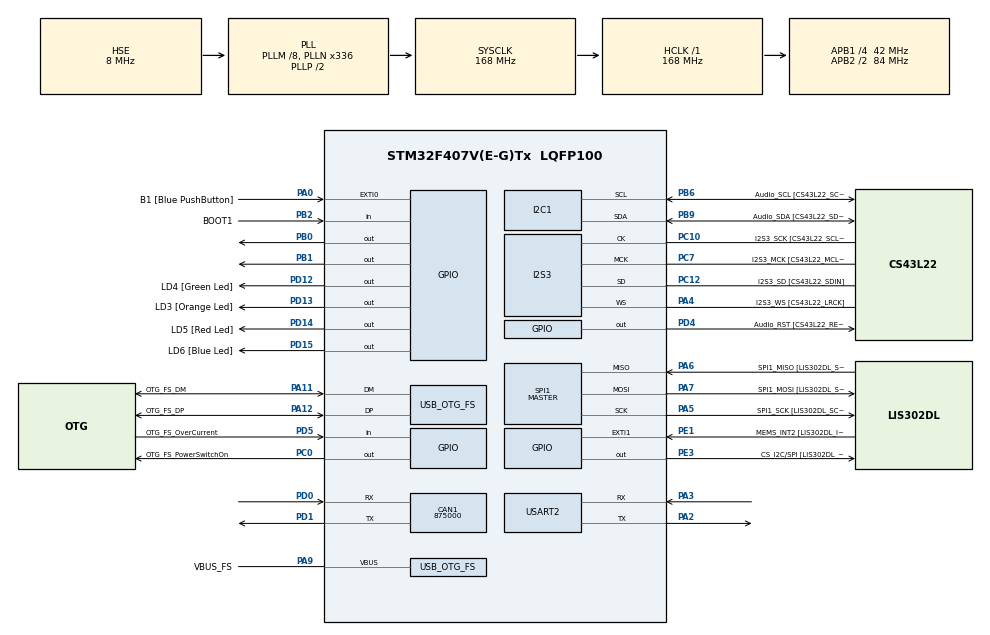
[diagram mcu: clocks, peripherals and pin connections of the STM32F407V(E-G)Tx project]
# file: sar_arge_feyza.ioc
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ADC1.Channel-6\#ChannelRegularConversion=ADC_CHANNEL_TEMPSENSOR
ADC1.Channel-7\#ChannelRegularConversion=ADC_CHANNEL_TEMPSENSOR
ADC1.Channel-8\#ChannelRegularConversion=ADC_CHANNEL_TEMPSENSOR
ADC1.NbrOfConversion=3
ADC1.NbrOfConversionFlag=1
ADC1.Rank-6\#ChannelRegularConversion=1
ADC1.Rank-7\#ChannelRegularConversion=2
ADC1.Rank-8\#ChannelRegularConversion=3
ADC1.SamplingTime-6\#ChannelRegularConversion=ADC_SAMPLETIME_3CYCLES
ADC1.SamplingTime-7\#ChannelRegularConversion=ADC_SAMPLETIME_56CYCLES
ADC1.SamplingTime-8\#ChannelRegularConversion=ADC_SAMPLETIME_3CYCLES
ADC1.master=1
CAN1.CalculateBaudRate=875000
CAN1.CalculateTimeBit=1142
CAN1.CalculateTimeQuantum=380.95238095238096
I2S3.AudioFreq-Half_Duplex_Master=I2S_AUDIOFREQ_96K
I2S3.ErrorAudioFreq=-2.34 %
I2S3.ErrorAudioFreq-Half_Duplex_Master=0.8 %
I2S3.FullDuplexMode=I2S_FULLDUPLEXMODE_DISABLE
I2S3.Instance=SPI$Index
I2S3.RealAudioFreq=93.75 KHz
I2S3.RealAudioFreq-Half_Duplex_Master=96.774 KHz
I2S3.VirtualMode=I2S_MODE_MASTER
Mcu.Family=STM32F4
Mcu.Name=STM32F407V(E-G)Tx
Mcu.Package=LQFP100
NVIC.OTG_FS_IRQn=true\:0\:0\:false\:false\:true\:true\:true\:true
NVIC.PriorityGroup=NVIC_PRIORITYGROUP_0
NVIC.TIM1_CC_IRQn=true\:0\:0\:false\:false\:true\:true\:true\:true
NVIC.USART2_IRQn=true\:0\:0\:false\:false\:true\:true\:true\:true
PA0-WKUP.GPIO_Label=B1 [Blue PushButton]
PA0-WKUP.GPIO_ModeDefaultEXTI=GPIO_MODE_EVT_RISING
PA0-WKUP.GPIO_PuPd=GPIO_NOPULL
PA0-WKUP.Signal=GPXTI0
PA10.GPIO_Label=OTG_FS_ID
PA10.GPIO_Mode=GPIO_MODE_AF_PP
PA10.GPIO_PuPd=GPIO_NOPULL
PA10.GPIO_Speed=GPIO_SPEED_FREQ_LOW
PA10.Signal=USB_OTG_FS_ID
PA11.GPIO_Label=OTG_FS_DM
PA11.GPIO_Mode=GPIO_MODE_AF_PP
PA11.GPIO_PuPd=GPIO_NOPULL
PA11.GPIO_Speed=GPIO_SPEED_FREQ_LOW
PA11.Mode=Host_Only
PA11.Signal=USB_OTG_FS_DM
PA12.GPIO_Label=OTG_FS_DP
PA12.GPIO_Mode=GPIO_MODE_AF_PP
PA12.GPIO_PuPd=GPIO_NOPULL
PA12.GPIO_Speed=GPIO_SPEED_FREQ_LOW
PA12.Mode=Host_Only
PA12.Signal=USB_OTG_FS_DP
PA13.GPIO_Label=SWDIO
PA13.Mode=Serial_Wire
PA13.Signal=SYS_JTMS-SWDIO
PA14.GPIO_Label=SWCLK
PA14.Mode=Serial_Wire
PA14.Signal=SYS_JTCK-SWCLK
PA2.Mode=Asynchronous
PA2.Signal=USART2_TX
PA3.Mode=Asynchronous
PA3.Signal=USART2_RX
PA4.GPIO_Label=I2S3_WS [CS43L22_LRCK]
PA4.GPIO_Mode=GPIO_MODE_AF_PP
PA4.GPIO_PuPd=GPIO_NOPULL
PA4.GPIO_Speed=GPIO_SPEED_FREQ_LOW
PA4.Mode=Half_Duplex_Master
PA4.Signal=I2S3_WS
PA5.GPIO_Label=SPI1_SCK [LIS302DL_SCL/SPC]
PA5.GPIO_Mode=GPIO_MODE_AF_PP
PA5.GPIO_PuPd=GPIO_NOPULL
PA5.GPIO_Speed=GPIO_SPEED_FREQ_LOW
PA5.Mode=Full_Duplex_Master
PA5.Signal=SPI1_SCK
PA6.GPIO_Label=SPI1_MISO [LIS302DL_SDO]
PA6.GPIO_Mode=GPIO_MODE_AF_PP
PA6.GPIO_PuPd=GPIO_NOPULL
PA6.GPIO_Speed=GPIO_SPEED_FREQ_LOW
PA6.Mode=Full_Duplex_Master
PA6.Signal=SPI1_MISO
PA7.GPIO_Label=SPI1_MOSI [LIS302DL_SDA/SDI/SDO]
PA7.GPIO_Mode=GPIO_MODE_AF_PP
PA7.GPIO_PuPd=GPIO_NOPULL
PA7.GPIO_Speed=GPIO_SPEED_FREQ_LOW
PA7.Mode=Full_Duplex_Master
PA7.Signal=SPI1_MOSI
PA9.GPIO_Label=VBUS_FS
PA9.GPIO_Mode=GPIO_MODE_INPUT
PA9.GPIO_PuPd=GPIO_NOPULL
PA9.Mode=Activate_VBUS
PA9.Signal=USB_OTG_FS_VBUS
PB0.Signal=GPIO_Output
PB1.Signal=GPIO_Output
PB10.GPIO_Label=CLK_IN [MP45DT02_CLK]
PB10.GPIO_Mode=GPIO_MODE_AF_PP
PB10.GPIO_PuPd=GPIO_NOPULL
PB10.GPIO_Speed=GPIO_SPEED_FREQ_LOW
PB10.Signal=I2S2_CK
PB2.GPIO_Label=BOOT1
PB2.GPIO_Mode=GPIO_MODE_INPUT
PB2.GPIO_PuPd=GPIO_NOPULL
PB2.Signal=GPIO_Input
PB3.GPIO_Label=SWO
PB3.Signal=SYS_JTDO-SWO
PB6.GPIO_Label=Audio_SCL [CS43L22_SCL]
PB6.GPIO_Mode=GPIO_MODE_AF_OD
PB6.GPIO_Pu=GPIO_PULLUP
PB6.GPIO_PuPd=GPIO_NOPULL
PB6.GPIO_Speed=GPIO_SPEED_FREQ_LOW
PB6.Mode=I2C
PB6.Signal=I2C1_SCL
PB9.GPIO_Label=Audio_SDA [CS43L22_SDA]
PB9.GPIO_Mode=GPIO_MODE_AF_OD
PB9.GPIO_Pu=GPIO_PULLUP
PB9.GPIO_PuPd=GPIO_NOPULL
PB9.GPIO_Speed=GPIO_SPEED_FREQ_LOW
PB9.Mode=I2C
PB9.Signal=I2C1_SDA
PC0.GPIO_Label=OTG_FS_PowerSwitchOn
PC0.GPIO_PuPd=GPIO_NOPULL
PC0.GPIO_Speed=GPIO_SPEED_FREQ_LOW
PC0.PinState=GPIO_PIN_SET
PC0.Signal=GPIO_Output
PC10.GPIO_Label=I2S3_SCK [CS43L22_SCLK]
PC10.GPIO_Mode=GPIO_MODE_AF_PP
PC10.GPIO_PuPd=GPIO_NOPULL
PC10.GPIO_Speed=GPIO_SPEED_FREQ_LOW
PC10.Mode=Half_Duplex_Master
PC10.Signal=I2S3_CK
PC12.GPIO_Label=I2S3_SD [CS43L22_SDIN]
PC12.GPIO_Mode=GPIO_MODE_AF_PP
PC12.GPIO_PuPd=GPIO_NOPULL
PC12.GPIO_Speed=GPIO_SPEED_FREQ_LOW
PC12.Mode=Half_Duplex_Master
PC12.Signal=I2S3_SD
PC14-OSC32_IN.GPIO_Label=PC14-OSC32_IN
PC14-OSC32_IN.Mode=LSE-External-Oscillator
PC14-OSC32_IN.Signal=RCC_OSC32_IN
PC15-OSC32_OUT.GPIO_Label=PC15-OSC32_OUT
PC15-OSC32_OUT.Mode=LSE-External-Oscillator
PC15-OSC32_OUT.Signal=RCC_OSC32_OUT
PC3.GPIO_Label=PDM_OUT [MP45DT02_DOUT]
PC3.GPIO_Mode=GPIO_MODE_AF_PP
PC3.GPIO_PuPd=GPIO_NOPULL
PC3.GPIO_Speed=GPIO_SPEED_FREQ_LOW
PC3.Signal=I2S2_SD
PC7.GPIO_Label=I2S3_MCK [CS43L22_MCLK]
PC7.GPIO_Mode=GPIO_MODE_AF_PP
PC7.GPIO_PuPd=GPIO_NOPULL
PC7.GPIO_Speed=GPIO_SPEED_FREQ_LOW
PC7.Mode=Master_Clock_Activated
PC7.Signal=I2S3_MCK
PD0.Mode=CAN_Activate
PD0.Signal=CAN1_RX
PD1.Mode=CAN_Activate
PD1.Signal=CAN1_TX
PD12.GPIO_Label=LD4 [Green Led]
PD12.GPIO_PuPd=GPIO_NOPULL
PD12.GPIO_Speed=GPIO_SPEED_FREQ_LOW
PD12.Signal=GPIO_Output
PD13.GPIO_Label=LD3 [Orange Led]
PD13.GPIO_PuPd=GPIO_NOPULL
PD13.GPIO_Speed=GPIO_SPEED_FREQ_LOW
PD13.Signal=GPIO_Output
PD14.GPIO_Label=LD5 [Red Led]
PD14.GPIO_PuPd=GPIO_NOPULL
PD14.GPIO_Speed=GPIO_SPEED_FREQ_LOW
PD14.Signal=GPIO_Output
PD15.GPIO_Label=LD6 [Blue Led]
PD15.GPIO_PuPd=GPIO_NOPULL
PD15.GPIO_Speed=GPIO_SPEED_FREQ_LOW
PD15.Signal=GPIO_Output
PD4.GPIO_Label=Audio_RST [CS43L22_RESET]
PD4.GPIO_PuPd=GPIO_NOPULL
PD4.GPIO_Speed=GPIO_SPEED_FREQ_LOW
PD4.Signal=GPIO_Output
PD5.GPIO_Label=OTG_FS_OverCurrent
PD5.GPIO_Mode=GPIO_MODE_INPUT
PD5.GPIO_PuPd=GPIO_NOPULL
PD5.Signal=GPIO_Input
PE1.GPIO_Label=MEMS_INT2 [LIS302DL_INT2]
PE1.GPIO_ModeDefaultEXTI=GPIO_MODE_EVT_RISING
PE1.GPIO_PuPd=GPIO_NOPULL
PE1.Signal=GPXTI1
PE3.GPIO_Label=CS_I2C/SPI [LIS302DL_CS_I2C/SPI]
PE3.GPIO_PuPd=GPIO_NOPULL
PE3.GPIO_Speed=GPIO_SPEED_FREQ_LOW
PE3.Signal=GPIO_Output
PH0-OSC_IN.GPIO_Label=PH0-OSC_IN
PH0-OSC_IN.Mode=HSE-External-Oscillator
PH0-OSC_IN.Signal=RCC_OSC_IN
PH1-OSC_OUT.GPIO_Label=PH1-OSC_OUT
PH1-OSC_OUT.Mode=HSE-External-Oscillator
PH1-OSC_OUT.Signal=RCC_OSC_OUT
ProjectManager.HeapSize=0x200
ProjectManager.StackSize=0x400
ProjectManager.TargetToolchain=STM32CubeIDE
RCC.48MHZClocksFreq_Value=48000000
RCC.AHBFreq_Value=168000000
RCC.APB1CLKDivider=RCC_HCLK_DIV4
RCC.APB1Freq_Value=42000000
RCC.APB1TimFreq_Value=84000000
RCC.APB2CLKDivider=RCC_HCLK_DIV2
RCC.APB2Freq_Value=84000000
RCC.APB2TimFreq_Value=168000000
RCC.CortexFreq_Value=168000000
RCC.HCLKFreq_Value=168000000
RCC.HSE_VALUE=8000000
RCC.HSI_VALUE=16000000
RCC.PLLM=8
RCC.PLLN=336
RCC.PLLQ=7
RCC.SYSCLKFreq_VALUE=168000000
RCC.SYSCLKSource=RCC_SYSCLKSOURCE_PLLCLK
RCC.VCOOutputFreq_Value=336000000
SPI1.BaudRatePrescaler-Full_Duplex_Master=SPI_BAUDRATEPRESCALER_2
SPI1.CalculateBaudRate-Full_Duplex_Master=42.0 MBits/s
SPI1.Direction=SPI_DIRECTION_2LINES
SPI1.Mode=SPI_MODE_MASTER
SPI1.Mode-Full_Duplex_Master=SPI_MODE_MASTER
SPI1.VirtualType=VM_MASTER
TIM1.Period=10000-1
TIM1.Prescaler=16800-1
USART2.VirtualMode=VM_ASYNC
USB_HOST.BSP.number=1
USB_HOST.USBH_HandleTypeDef-CDC_FS=hUsbHostFS
USB_HOST.VirtualModeFS=Cdc
USB_HOST0.BSP.STBoard=false
USB_HOST0.BSP.api=Unknown
USB_HOST0.BSP.instance=PC0
USB_HOST0.BSP.ip=GPIO
USB_HOST0.BSP.mode=Output
USB_HOST0.BSP.name=Drive_VBUS_FS
USB_HOST0.BSP.solution=PC0
USB_OTG_FS.VirtualMode=Host_Only
USB_OTG_FS.phy_itface=HCD_PHY_EMBEDDED
VP_ADC1_TempSens_Input.Mode=IN-TempSens
VP_TIM1_VS_ClockSourceINT.Mode=Internal
VP_USB_HOST_VS_USB_HOST_CDC_FS.Mode=CDC_FS
board=STM32F407G-DISC1

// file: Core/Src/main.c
/* USER CODE BEGIN Header */
/**
  ******************************************************************************
  * @file           : main.c
  * @brief          : Main program body
  ******************************************************************************
  * @attention
  *
  * Copyright (c) 2025 STMicroelectronics.
  * All rights reserved.
  *
  * This software is licensed under terms that can be found in the LICENSE file
  * in the root directory of this software component.
  * If no LICENSE file comes with this software, it is provided AS-IS.
  *
  ******************************************************************************
  */
/* USER CODE END Header */
#include "main.h"
#include "usb_host.h"

/* USER CODE BEGIN Includes */
#include <stdint.h>
#include "ADIS.h"
#include "telemetry.h"

/* USER CODE END Includes */

ADC_HandleTypeDef hadc1;
CAN_HandleTypeDef hcan1;
I2C_HandleTypeDef hi2c1;
I2S_HandleTypeDef hi2s3;
SPI_HandleTypeDef hspi1;
TIM_HandleTypeDef htim1;
UART_HandleTypeDef huart2;

void SystemClock_Config(void);
static void MX_GPIO_Init(void);
static void MX_I2C1_Init(void);
static void MX_I2S3_Init(void);
static void MX_SPI1_Init(void);
static void MX_TIM1_Init(void);
static void MX_ADC1_Init(void);
static void MX_CAN1_Init(void);
static void MX_USART2_UART_Init(void);
void MX_USB_HOST_Process(void);

int main(void)
{

  /* MCU Configuration--------------------------------------------------------*/

  /* Reset of all peripherals, Initializes the Flash interface and the Systick. */
  HAL_Init();

  /* Configure the system clock */
  SystemClock_Config();

  /* Initialize all configured peripherals */
  MX_GPIO_Init();
  MX_I2C1_Init();
  MX_I2S3_Init();
  MX_SPI1_Init();
  MX_USB_HOST_Init();
  MX_TIM1_Init();
  MX_ADC1_Init();
  MX_CAN1_Init();
  MX_USART2_UART_Init();

  /* USER CODE BEGIN 2 */
  MX_CAN1_Init();
  HAL_CAN_Start(&hcan1);
  HAL_GPIO_WritePin(GPIOB, GPIO_PIN_0, GPIO_PIN_SET);  // CS HIGH (boşta)
  HAL_GPIO_WritePin(GPIOB, GPIO_PIN_1, GPIO_PIN_SET);  // RST HIGH (aktif)
  uint32_t last_sent_time = 0;
  uint32_t seconds = 0;
  TelemetryPacket packet;

  /* USER CODE END 2 */

  /* Infinite loop */
  while (1)
  {
    MX_USB_HOST_Process();

    /* USER CODE BEGIN 3 */
    if (seconds != last_sent_time)
    {
        last_sent_time = seconds;
        packet.header = 0xDD;
        packet.timestamp = seconds;
        packet.temp_degC = Read_Temperature();

        Read_IMU(&packet.acc_x, &packet.acc_y, &packet.acc_z,
                &packet.gyro_x, &packet.gyro_y, &packet.gyro_z);

        packet.error_flags = 0x0000; // hata kontrolü eklenebilir
        SendTelemetryUART(&packet);
        SendTelemetryCAN(&packet);
    }

  }
  /* USER CODE END 3 */
}

void SystemClock_Config(void)
{
  RCC_OscInitTypeDef RCC_OscInitStruct = {0};
  RCC_ClkInitTypeDef RCC_ClkInitStruct = {0};

  /** Configure the main internal regulator output voltage
  */
  __HAL_RCC_PWR_CLK_ENABLE();
  __HAL_PWR_VOLTAGESCALING_CONFIG(PWR_REGULATOR_VOLTAGE_SCALE1);

  /** Initializes the RCC Oscillators according to the specified parameters
  * in the RCC_OscInitTypeDef structure.
  */
  RCC_OscInitStruct.OscillatorType = RCC_OSCILLATORTYPE_HSE;
  RCC_OscInitStruct.HSEState = RCC_HSE_ON;
  RCC_OscInitStruct.PLL.PLLState = RCC_PLL_ON;
  RCC_OscInitStruct.PLL.PLLSource = RCC_PLLSOURCE_HSE;
  RCC_OscInitStruct.PLL.PLLM = 8;
  RCC_OscInitStruct.PLL.PLLN = 336;
  RCC_OscInitStruct.PLL.PLLP = RCC_PLLP_DIV2;
  RCC_OscInitStruct.PLL.PLLQ = 7;
  if (HAL_RCC_OscConfig(&RCC_OscInitStruct) != HAL_OK)
  {
    Error_Handler();
  }

  /** Initializes the CPU, AHB and APB buses clocks
  */
  RCC_ClkInitStruct.ClockType = RCC_CLOCKTYPE_HCLK|RCC_CLOCKTYPE_SYSCLK
                              |RCC_CLOCKTYPE_PCLK1|RCC_CLOCKTYPE_PCLK2;
  RCC_ClkInitStruct.SYSCLKSource = RCC_SYSCLKSOURCE_PLLCLK;
  RCC_ClkInitStruct.AHBCLKDivider = RCC_SYSCLK_DIV1;
  RCC_ClkInitStruct.APB1CLKDivider = RCC_HCLK_DIV4;
  RCC_ClkInitStruct.APB2CLKDivider = RCC_HCLK_DIV2;

  if (HAL_RCC_ClockConfig(&RCC_ClkInitStruct, FLASH_LATENCY_5) != HAL_OK)
  {
    Error_Handler();
  }
}

static void MX_ADC1_Init(void)
{

  ADC_ChannelConfTypeDef sConfig = {0};

  /** Configure the global features of the ADC (Clock, Resolution, Data Alignment and number of conversion)
  */
  hadc1.Instance = ADC1;
  hadc1.Init.ClockPrescaler = ADC_CLOCK_SYNC_PCLK_DIV4;
  hadc1.Init.Resolution = ADC_RESOLUTION_12B;
  hadc1.Init.ScanConvMode = ENABLE;
  hadc1.Init.ContinuousConvMode = DISABLE;
  hadc1.Init.DiscontinuousConvMode = DISABLE;
  hadc1.Init.ExternalTrigConvEdge = ADC_EXTERNALTRIGCONVEDGE_NONE;
  hadc1.Init.ExternalTrigConv = ADC_SOFTWARE_START;
  hadc1.Init.DataAlign = ADC_DATAALIGN_RIGHT;
  hadc1.Init.NbrOfConversion = 3;
  hadc1.Init.DMAContinuousRequests = DISABLE;
  hadc1.Init.EOCSelection = ADC_EOC_SINGLE_CONV;
  if (HAL_ADC_Init(&hadc1) != HAL_OK)
  {
    Error_Handler();
  }

  /** Configure for the selected ADC regular channel its corresponding rank in the sequencer and its sample time.
  */
  sConfig.Channel = ADC_CHANNEL_TEMPSENSOR;
  sConfig.Rank = 1;
  sConfig.SamplingTime = ADC_SAMPLETIME_3CYCLES;
  if (HAL_ADC_ConfigChannel(&hadc1, &sConfig) != HAL_OK)
  {
    Error_Handler();
  }

  /** Configure for the selected ADC regular channel its corresponding rank in the sequencer and its sample time.
  */
  sConfig.Rank = 2;
  sConfig.SamplingTime = ADC_SAMPLETIME_56CYCLES;
  if (HAL_ADC_ConfigChannel(&hadc1, &sConfig) != HAL_OK)
  {
    Error_Handler();
  }

  /** Configure for the selected ADC regular channel its corresponding rank in the sequencer and its sample time.
  */
  sConfig.Rank = 3;
  sConfig.SamplingTime = ADC_SAMPLETIME_3CYCLES;
  if (HAL_ADC_ConfigChannel(&hadc1, &sConfig) != HAL_OK)
  {
    Error_Handler();
  }

}

static void MX_CAN1_Init(void)
{

  hcan1.Instance = CAN1;
  hcan1.Init.Prescaler = 16;
  hcan1.Init.Mode = CAN_MODE_NORMAL;
  hcan1.Init.SyncJumpWidth = CAN_SJW_1TQ;
  hcan1.Init.TimeSeg1 = CAN_BS1_1TQ;
  hcan1.Init.TimeSeg2 = CAN_BS2_1TQ;
  hcan1.Init.TimeTriggeredMode = DISABLE;
  hcan1.Init.AutoBusOff = DISABLE;
  hcan1.Init.AutoWakeUp = DISABLE;
  hcan1.Init.AutoRetransmission = DISABLE;
  hcan1.Init.ReceiveFifoLocked = DISABLE;
  hcan1.Init.TransmitFifoPriority = DISABLE;
  if (HAL_CAN_Init(&hcan1) != HAL_OK)
  {
    Error_Handler();
  }

}

static void MX_I2C1_Init(void)
{

  hi2c1.Instance = I2C1;
  hi2c1.Init.ClockSpeed = 100000;
  hi2c1.Init.DutyCycle = I2C_DUTYCYCLE_2;
  hi2c1.Init.OwnAddress1 = 0;
  hi2c1.Init.AddressingMode = I2C_ADDRESSINGMODE_7BIT;
  hi2c1.Init.DualAddressMode = I2C_DUALADDRESS_DISABLE;
  hi2c1.Init.OwnAddress2 = 0;
  hi2c1.Init.GeneralCallMode = I2C_GENERALCALL_DISABLE;
  hi2c1.Init.NoStretchMode = I2C_NOSTRETCH_DISABLE;
  if (HAL_I2C_Init(&hi2c1) != HAL_OK)
  {
    Error_Handler();
  }

}

static void MX_I2S3_Init(void)
{

  hi2s3.Instance = SPI3;
  hi2s3.Init.Mode = I2S_MODE_MASTER_TX;
  hi2s3.Init.Standard = I2S_STANDARD_PHILIPS;
  hi2s3.Init.DataFormat = I2S_DATAFORMAT_16B;
  hi2s3.Init.MCLKOutput = I2S_MCLKOUTPUT_ENABLE;
  hi2s3.Init.AudioFreq = I2S_AUDIOFREQ_96K;
  hi2s3.Init.CPOL = I2S_CPOL_LOW;
  hi2s3.Init.ClockSource = I2S_CLOCK_PLL;
  hi2s3.Init.FullDuplexMode = I2S_FULLDUPLEXMODE_DISABLE;
  if (HAL_I2S_Init(&hi2s3) != HAL_OK)
  {
    Error_Handler();
  }

}

static void MX_SPI1_Init(void)
{

  /* SPI1 parameter configuration*/
  hspi1.Instance = SPI1;
  hspi1.Init.Mode = SPI_MODE_MASTER;
  hspi1.Init.Direction = SPI_DIRECTION_2LINES;
  hspi1.Init.DataSize = SPI_DATASIZE_8BIT;
  hspi1.Init.CLKPolarity = SPI_POLARITY_LOW;
  hspi1.Init.CLKPhase = SPI_PHASE_1EDGE;
  hspi1.Init.NSS = SPI_NSS_SOFT;
  hspi1.Init.BaudRatePrescaler = SPI_BAUDRATEPRESCALER_2;
  hspi1.Init.FirstBit = SPI_FIRSTBIT_MSB;
  hspi1.Init.TIMode = SPI_TIMODE_DISABLE;
  hspi1.Init.CRCCalculation = SPI_CRCCALCULATION_DISABLE;
  hspi1.Init.CRCPolynomial = 10;
  if (HAL_SPI_Init(&hspi1) != HAL_OK)
  {
    Error_Handler();
  }

}

static void MX_TIM1_Init(void)
{

  TIM_ClockConfigTypeDef sClockSourceConfig = {0};
  TIM_MasterConfigTypeDef sMasterConfig = {0};

  htim1.Instance = TIM1;
  htim1.Init.Prescaler = 16800-1;
  htim1.Init.CounterMode = TIM_COUNTERMODE_UP;
  htim1.Init.Period = 10000-1;
  htim1.Init.ClockDivision = TIM_CLOCKDIVISION_DIV1;
  htim1.Init.RepetitionCounter = 0;
  htim1.Init.AutoReloadPreload = TIM_AUTORELOAD_PRELOAD_DISABLE;
  if (HAL_TIM_Base_Init(&htim1) != HAL_OK)
  {
    Error_Handler();
  }
  sClockSourceConfig.ClockSource = TIM_CLOCKSOURCE_INTERNAL;
  if (HAL_TIM_ConfigClockSource(&htim1, &sClockSourceConfig) != HAL_OK)
  {
    Error_Handler();
  }
  sMasterConfig.MasterOutputTrigger = TIM_TRGO_RESET;
  sMasterConfig.MasterSlaveMode = TIM_MASTERSLAVEMODE_DISABLE;
  if (HAL_TIMEx_MasterConfigSynchronization(&htim1, &sMasterConfig) != HAL_OK)
  {
    Error_Handler();
  }

}

static void MX_USART2_UART_Init(void)
{

  huart2.Instance = USART2;
  huart2.Init.BaudRate = 115200;
  huart2.Init.WordLength = UART_WORDLENGTH_8B;
  huart2.Init.StopBits = UART_STOPBITS_1;
  huart2.Init.Parity = UART_PARITY_NONE;
  huart2.Init.Mode = UART_MODE_TX_RX;
  huart2.Init.HwFlowCtl = UART_HWCONTROL_NONE;
  huart2.Init.OverSampling = UART_OVERSAMPLING_16;
  if (HAL_UART_Init(&huart2) != HAL_OK)
  {
    Error_Handler();
  }

}

static void MX_GPIO_Init(void)
{
  GPIO_InitTypeDef GPIO_InitStruct = {0};

  /* GPIO Ports Clock Enable */
  __HAL_RCC_GPIOE_CLK_ENABLE();
  __HAL_RCC_GPIOC_CLK_ENABLE();
  __HAL_RCC_GPIOH_CLK_ENABLE();
  __HAL_RCC_GPIOA_CLK_ENABLE();
  __HAL_RCC_GPIOB_CLK_ENABLE();
  __HAL_RCC_GPIOD_CLK_ENABLE();

  /*Configure GPIO pin Output Level */
  HAL_GPIO_WritePin(CS_I2C_SPI_GPIO_Port, CS_I2C_SPI_Pin, GPIO_PIN_RESET);

  /*Configure GPIO pin Output Level */
  HAL_GPIO_WritePin(OTG_FS_PowerSwitchOn_GPIO_Port, OTG_FS_PowerSwitchOn_Pin, GPIO_PIN_SET);

  /*Configure GPIO pin Output Level */
  HAL_GPIO_WritePin(GPIOB, GPIO_PIN_0|GPIO_PIN_1, GPIO_PIN_RESET);

  /*Configure GPIO pin Output Level */
  HAL_GPIO_WritePin(GPIOD, LD4_Pin|LD3_Pin|LD5_Pin|LD6_Pin
                          |Audio_RST_Pin, GPIO_PIN_RESET);

  /*Configure GPIO pin : CS_I2C_SPI_Pin */
  GPIO_InitStruct.Pin = CS_I2C_SPI_Pin;
  GPIO_InitStruct.Mode = GPIO_MODE_OUTPUT_PP;
  GPIO_InitStruct.Pull = GPIO_NOPULL;
  GPIO_InitStruct.Speed = GPIO_SPEED_FREQ_LOW;
  HAL_GPIO_Init(CS_I2C_SPI_GPIO_Port, &GPIO_InitStruct);

  /*Configure GPIO pin : OTG_FS_PowerSwitchOn_Pin */
  GPIO_InitStruct.Pin = OTG_FS_PowerSwitchOn_Pin;
  GPIO_InitStruct.Mode = GPIO_MODE_OUTPUT_PP;
  GPIO_InitStruct.Pull = GPIO_NOPULL;
  GPIO_InitStruct.Speed = GPIO_SPEED_FREQ_LOW;
  HAL_GPIO_Init(OTG_FS_PowerSwitchOn_GPIO_Port, &GPIO_InitStruct);

  /*Configure GPIO pin : PDM_OUT_Pin */
  GPIO_InitStruct.Pin = PDM_OUT_Pin;
  GPIO_InitStruct.Mode = GPIO_MODE_AF_PP;
  GPIO_InitStruct.Pull = GPIO_NOPULL;
  GPIO_InitStruct.Speed = GPIO_SPEED_FREQ_LOW;
  GPIO_InitStruct.Alternate = GPIO_AF5_SPI2;
  HAL_GPIO_Init(PDM_OUT_GPIO_Port, &GPIO_InitStruct);

  /*Configure GPIO pin : B1_Pin */
  GPIO_InitStruct.Pin = B1_Pin;
  GPIO_InitStruct.Mode = GPIO_MODE_EVT_RISING;
  GPIO_InitStruct.Pull = GPIO_NOPULL;
  HAL_GPIO_Init(B1_GPIO_Port, &GPIO_InitStruct);

  /*Configure GPIO pins : PB0 PB1 */
  GPIO_InitStruct.Pin = GPIO_PIN_0|GPIO_PIN_1;
  GPIO_InitStruct.Mode = GPIO_MODE_OUTPUT_PP;
  GPIO_InitStruct.Pull = GPIO_NOPULL;
  GPIO_InitStruct.Speed = GPIO_SPEED_FREQ_LOW;
  HAL_GPIO_Init(GPIOB, &GPIO_InitStruct);

  /*Configure GPIO pin : BOOT1_Pin */
  GPIO_InitStruct.Pin = BOOT1_Pin;
  GPIO_InitStruct.Mode = GPIO_MODE_INPUT;
  GPIO_InitStruct.Pull = GPIO_NOPULL;
  HAL_GPIO_Init(BOOT1_GPIO_Port, &GPIO_InitStruct);

  /*Configure GPIO pin : CLK_IN_Pin */
  GPIO_InitStruct.Pin = CLK_IN_Pin;
  GPIO_InitStruct.Mode = GPIO_MODE_AF_PP;
  GPIO_InitStruct.Pull = GPIO_NOPULL;
  GPIO_InitStruct.Speed = GPIO_SPEED_FREQ_LOW;
  GPIO_InitStruct.Alternate = GPIO_AF5_SPI2;
  HAL_GPIO_Init(CLK_IN_GPIO_Port, &GPIO_InitStruct);

  /*Configure GPIO pins : LD4_Pin LD3_Pin LD5_Pin LD6_Pin
                           Audio_RST_Pin */
  GPIO_InitStruct.Pin = LD4_Pin|LD3_Pin|LD5_Pin|LD6_Pin
                          |Audio_RST_Pin;
  GPIO_InitStruct.Mode = GPIO_MODE_OUTPUT_PP;
  GPIO_InitStruct.Pull = GPIO_NOPULL;
  GPIO_InitStruct.Speed = GPIO_SPEED_FREQ_LOW;
  HAL_GPIO_Init(GPIOD, &GPIO_InitStruct);

  /*Configure GPIO pin : OTG_FS_OverCurrent_Pin */
  GPIO_InitStruct.Pin = OTG_FS_OverCurrent_Pin;
  GPIO_InitStruct.Mode = GPIO_MODE_INPUT;
  GPIO_InitStruct.Pull = GPIO_NOPULL;
  HAL_GPIO_Init(OTG_FS_OverCurrent_GPIO_Port, &GPIO_InitStruct);

  /*Configure GPIO pin : MEMS_INT2_Pin */
  GPIO_InitStruct.Pin = MEMS_INT2_Pin;
  GPIO_InitStruct.Mode = GPIO_MODE_EVT_RISING;
  GPIO_InitStruct.Pull = GPIO_NOPULL;
  HAL_GPIO_Init(MEMS_INT2_GPIO_Port, &GPIO_InitStruct);

}

void Error_Handler(void)
{
  __disable_irq();
  while (1)
  {
  }
}
